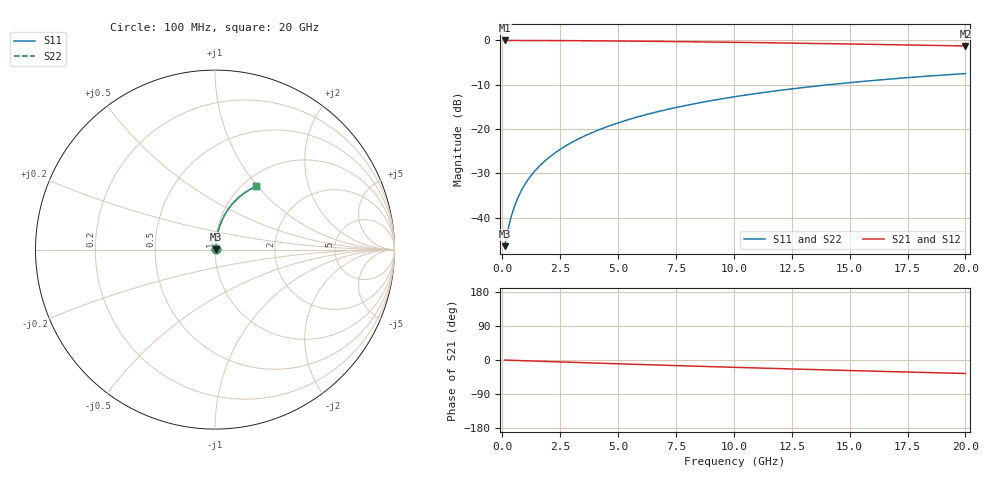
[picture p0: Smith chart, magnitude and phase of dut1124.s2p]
! Touchstone file exported from HFSS 2024.1.0
!  File:  C:/UserFiles/LocalFiles/RDL_TSV_Batchsim/temp_RDL_top_1124_1780047202.aedt
!  Generated:  05:35:37 PM May 29, 2026
!  Design:  RDL_top
!  Project:  temp_RDL_top_1124_1780047202
!  Setup:  Setup1
!  Solution:  Sweep
! Variables:
!  dtsv = 10.80580581um
!  hbump = 3um
!  htsv = 80.55um
!  ldown = 100um
!  lrdl = 427.14um
!  p = 40
!  p1 = 49.78um
!  rhole = 1um
!  t = 450um
!  tdown = 3.915915916um
!  trdl = 3.06um
!  wdown = 15.38538539um
!  wrdl = 12.39um
# GHz S MA R 50.000000
! Terminal data exported
! Port[1] = Box2_T1
! Port[2] = Box2_T2
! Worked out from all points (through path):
!   200 points, 100 MHz to 20 GHz, reference 50 ohm
!   highest |S21| = -0.04 dB at 100 MHz (marker M1); lowest = -1.3 dB at 20 GHz (marker M2)
!   group delay of S21, straight-line fit = 4.94 ps
!   lowest |S11| = -46.4 dB at 100 MHz (marker M3), VSWR 1.01, Z = 50.4 + j0.246 ohm
!   |S11| at or under -10 dB: start of sweep to 14.13 GHz
!   |S22| runs from -46.4 to -7.5 dB; largest |S21 - S12| = 4.1e-15
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0.1  0.004771 30.7  0.9959 -0.2  0.9959 -0.2  0.004771 30.7
! Gamma 0 0 0 0
! Port Impedance 50 0 50 0
0.3  0.00842 59.6  0.9958 -0.6  0.9958 -0.6  0.00842 59.6
0.4  0.01059 65.6  0.9956 -0.8  0.9956 -0.8  0.01059 65.6
0.5  0.01283 69.5  0.9955 -1.0  0.9955 -1.0  0.01283 69.5
0.6  0.01509 72.1  0.9954 -1.2  0.9954 -1.2  0.01509 72.1
0.8  0.01965 75.5  0.9951 -1.7  0.9951 -1.7  0.01965 75.5
1.1  0.02653 78.2  0.9947 -2.3  0.9947 -2.3  0.02653 78.2
1.5  0.03575 80.1  0.994 -3.1  0.994 -3.1  0.03575 80.1
1.8  0.0427 80.8  0.9934 -3.7  0.9934 -3.7  0.0427 80.8
2.1  0.04966 81.2  0.9928 -4.3  0.9928 -4.3  0.04966 81.2
2.7  0.06362 81.4  0.9912 -5.5  0.9912 -5.5  0.06362 81.4
3.5  0.08225 81.1  0.9885 -7.1  0.9885 -7.1  0.08226 81.1
4.2  0.09855 80.5  0.9857 -8.5  0.9857 -8.5  0.09856 80.5
5  0.1171 79.6  0.982 -10.0  0.982 -10.0  0.1172 79.6
5.9  0.138 78.4  0.9773 -11.8  0.9773 -11.8  0.138 78.4
6.8  0.1587 77.2  0.972 -13.5  0.972 -13.5  0.1587 77.2
8.3  0.1927 74.9  0.9621 -16.3  0.9621 -16.3  0.1927 74.9
10.1  0.2325 72.1  0.949 -19.5  0.949 -19.5  0.2325 72.1
11.7  0.2667 69.6  0.9364 -22.3  0.9364 -22.3  0.2667 69.6
13.4  0.3017 66.9  0.9222 -25.2  0.9222 -25.2  0.3017 66.9
16.7  0.3649 61.7  0.8933 -30.5  0.8933 -30.5  0.3649 61.7
20  0.4215 56.8  0.8633 -35.5  0.8633 -35.5  0.4215 56.8
